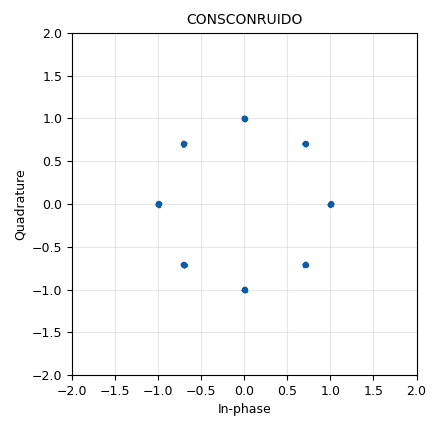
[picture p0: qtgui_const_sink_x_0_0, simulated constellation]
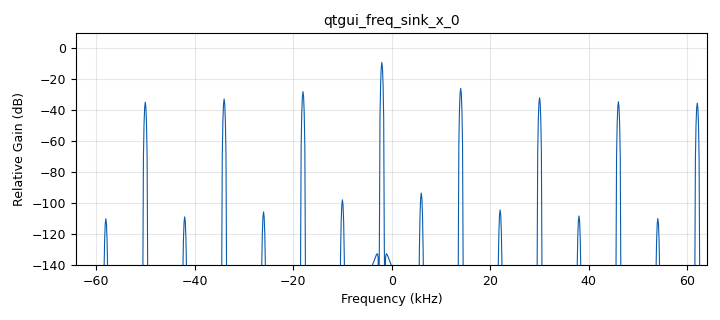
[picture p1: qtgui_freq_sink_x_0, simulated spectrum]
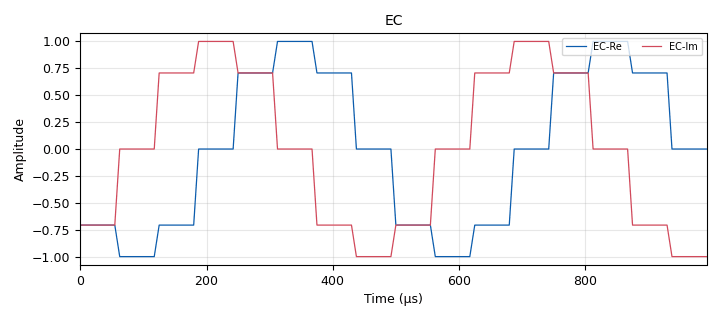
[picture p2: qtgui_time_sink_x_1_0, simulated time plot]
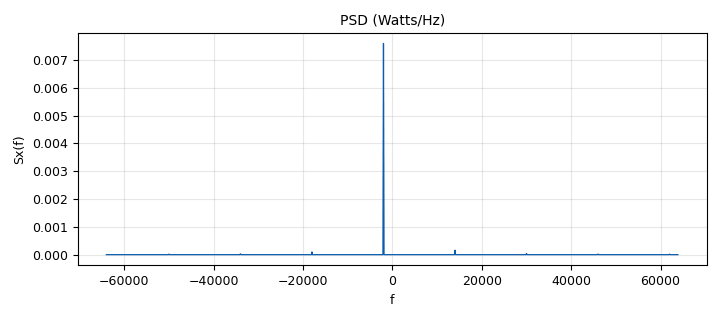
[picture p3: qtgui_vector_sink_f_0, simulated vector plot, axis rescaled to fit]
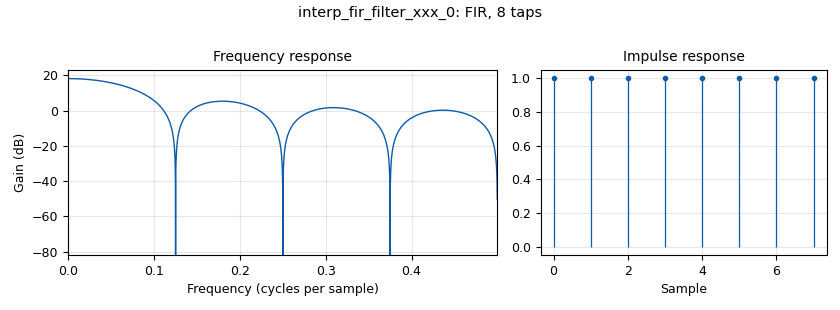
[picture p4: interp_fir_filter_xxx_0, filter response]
options:
  parameters:
    generate_options: qt_gui
    id: Practica4MPSK
    output_language: python
    title: Not titled yet
  states: {}

blocks:
- name: CONSTELACION
  id: variable
  parameters:
    value: (1+0j, 0 + 1j, -1+0j, 0 - 1j)
  states: {}
- name: CONSTELACION2
  id: variable
  parameters:
    value: ( -0.707-0.707j, -1+0j, -0.707+0.707j, 0+1j, 0.707+0.707j, 1+0j, 0.707-0.707j, 0-1j )
  states: {}
- name: M
  id: variable
  parameters:
    value: '4'
  states: {}
- name: M_ANTES
  id: variable
  parameters:
    value: '8'
  states: {}
- name: N
  id: variable
  parameters:
    value: '1024'
  states: {}
- name: Nbps
  id: variable
  parameters:
    value: int(math.log(M,2))
  states: {}
- name: Rb
  id: variable
  parameters:
    value: '32000'
  states: {}
- name: Rs
  id: variable
  parameters:
    value: Rb/Nbps
  states: {}
- name: Sps
  id: variable
  parameters:
    value: len(h)
  states: {}
- name: h
  id: variable
  parameters:
    value: (1.,1.,1.,1.,1.,1.,1.,1.)
  states: {}
- name: samp_rate
  id: variable
  parameters:
    value: Rs*Sps
  states: {}
- name: analog_const_source_x_0
  id: analog_const_source_x
  parameters:
    const: '1.'
    type: float
  states: {state: disabled}
- name: analog_noise_source_x_0
  id: analog_noise_source_x
  parameters:
    amp: '0.01'
    noise_type: analog.GR_GAUSSIAN
    seed: '0'
    type: complex
  states: {}
- name: analog_random_source_x_0
  id: analog_random_source_x
  parameters:
    max: '2'
    min: '0'
    num_samps: '1000'
    repeat: 'True'
    type: byte
  states: {state: disabled}
- name: blocks_add_xx_0
  id: blocks_add_xx
  parameters:
    type: complex
  states: {}
- name: blocks_char_to_float_0
  id: blocks_char_to_float
  parameters:
    scale: '1'
  states: {state: disabled}
- name: blocks_char_to_float_0_0
  id: blocks_char_to_float
  parameters:
    scale: '1'
  states: {state: disabled}
- name: blocks_char_to_float_0_0_0
  id: blocks_char_to_float
  parameters:
    scale: '1'
  states: {state: disabled}
- name: blocks_complex_to_mag_squared_0
  id: blocks_complex_to_mag_squared
  parameters:
    vlen: N
  states: {}
- name: blocks_multiply_const_vxx_0
  id: blocks_multiply_const_vxx
  parameters:
    const: 2*math.pi/M
    type: float
  states: {state: disabled}
- name: blocks_multiply_const_vxx_1
  id: blocks_multiply_const_vxx
  parameters:
    const: '[1/(N*samp_rate)]*N'
    type: float
    vlen: N
  states: {}
- name: blocks_null_sink_0
  id: blocks_null_sink
  parameters:
    type: complex
  states: {}
- name: blocks_repack_bits_bb_0
  id: blocks_repack_bits_bb
  parameters:
    endianness: gr.GR_LSB_FIRST
    k: '1'
    l: Nbps
  states: {state: disabled}
- name: blocks_stream_to_vector_0
  id: blocks_stream_to_vector
  parameters:
    num_items: N
    type: complex
  states: {}
- name: blocks_vector_source_x_0
  id: blocks_vector_source_x
  parameters:
    repeat: 'True'
    type: int
    vector: (0, 1, 2, 3)
  states: {state: disabled}
- name: blocks_vector_source_x_0_0
  id: blocks_vector_source_x
  parameters:
    repeat: 'True'
    type: int
    vector: (0, 1, 2, 3,4,5,6,7)
  states: {}
- name: digital_chunks_to_symbols_xx_0
  id: digital_chunks_to_symbols_xx
  parameters:
    dimension: '1'
    in_type: int
    out_type: complex
    symbol_table: CONSTELACION2
  states: {}
- name: epy_block_0
  id: epy_block
  parameters:
    _source_code: |
      """
      Embedded Python Blocks:

      Each time this file is saved, GRC will instantiate the first class it finds
      to get ports and parameters of your block. The arguments to __init__  will
      be the parameters. All of them are required to have default values!
      """

      import numpy as np
      from gnuradio import gr


      class blk(gr.sync_block):  # other base classes are basic_block, decim_block, interp_block
          """Embedded Python Block example - a simple multiply const"""

          def __init__(self, example_param=1.0):  # only default arguments here
              """arguments to this function show up as parameters in GRC"""
              gr.sync_block.__init__(
                  self,
                  name='VCO Complex',   # will show up in GRC
                  in_sig=[np.float32, np.float32],
                  out_sig=[np.complex64]
              )
              # if an attribute with the same name as a parameter is found,
              # a callback is registered (properties work, too).
              self.example_param = example_param

          def work(self, input_items, output_items):
              Q=input_items[0]
              A=input_items[1]
              Sec=output_items[0] #Envolvente Compleja
              Sec[:]=A*np.exp(1.j*Q)
              return len(Sec)
    example_param: '1.0'
  states: {state: disabled}
- name: epy_block_0_0
  id: epy_block
  parameters:
    N: N
    _source_code: |
      import numpy as np
      from gnuradio import gr


      class blk(gr.sync_block):  
          """vector averager. N is the lengh of the vector"""

          def __init__(self, N=1024):
              gr.sync_block.__init__(
                  self,
                  name='e_vec_averager_ff',   
                  in_sig=[(np.float32,N)],
                  out_sig=[(np.float32,N)]
              )
              self.N = N
              self.rows_counter=0
              self.sum=0

          def work(self, input_items, output_items):
              x=input_items[0]
              y=output_items[0]
              self.sum += np.sum(x, axis=0)
              self.rows_counter += len(x)
              y[:]=self.sum/self.rows_counter
              return len(output_items[0])
  states: {}
- name: fft_vxx_0
  id: fft_vxx
  parameters:
    fft_size: N
    forward: 'True'
    shift: 'True'
    type: complex
    window: '[1]*N'
  states: {}
- name: import_0
  id: import
  parameters:
    imports: import math
  states: {}
- name: interp_fir_filter_xxx_0
  id: interp_fir_filter_xxx
  parameters:
    interp: '8'
    taps: h
    type: ccc
  states: {}
- name: interp_fir_filter_xxx_0_0
  id: interp_fir_filter_xxx
  parameters:
    interp: '8'
    taps: h
    type: ccc
  states: {}
- name: note_0
  id: note
  parameters:
    note: Numero de bits por simbolo
  states: {}
- name: note_0_0
  id: note
  parameters:
    note: Rata de simbolo
  states: {}
- name: note_0_0_0
  id: note
  parameters:
    note: M-aria
  states: {}
- name: note_0_0_0_0
  id: note
  parameters:
    note: Rata de bits
  states: {}
- name: note_0_0_0_1
  id: note
  parameters:
    note: Normalización
  states: {}
- name: note_0_1
  id: note
  parameters:
    note: Q
  states: {}
- name: note_0_1_0
  id: note
  parameters:
    note: A
  states: {}
- name: qtgui_const_sink_x_0
  id: qtgui_const_sink_x
  parameters:
    size: '1024'
    type: complex
  states: {state: disabled}
- name: qtgui_const_sink_x_0_0
  id: qtgui_const_sink_x
  parameters:
    name: '"CONSCONRUIDO"'
    size: '1024'
    type: complex
  states: {}
- name: qtgui_freq_sink_x_0
  id: qtgui_freq_sink_x
  parameters:
    average: '0.05'
    bw: samp_rate
    fc: '0'
    fftsize: '1024'
    type: complex
  states: {}
- name: qtgui_time_sink_x_0
  id: qtgui_time_sink_x
  parameters:
    marker1: '0'
    name: '"binary"'
    size: '1024'
    srate: Nbps
    stemplot: 'True'
    type: float
    width1: '3'
  states: {state: disabled}
- name: qtgui_time_sink_x_0_0
  id: qtgui_time_sink_x
  parameters:
    marker1: '0'
    name: '"M-PAM"'
    size: int(32/Nbps)
    srate: Rs
    stemplot: 'True'
    type: float
    width1: '3'
  states: {state: disabled}
- name: qtgui_time_sink_x_0_0_0
  id: qtgui_time_sink_x
  parameters:
    marker1: '0'
    name: '"M-PAM MOD"'
    size: int(32/Nbps)
    srate: Rs
    stemplot: 'True'
    type: float
    width1: '3'
  states: {state: disabled}
- name: qtgui_time_sink_x_1
  id: qtgui_time_sink_x
  parameters:
    color1: magenta
    label1: EC-Re
    label2: EC-Im
    marker1: '0'
    name: '"EC"'
    size: int(32/Nbps)
    srate: Rs
    stemplot: 'True'
    type: complex
    width1: '3'
    width2: '3'
  states: {state: disabled}
- name: qtgui_time_sink_x_1_0
  id: qtgui_time_sink_x
  parameters:
    color1: magenta
    label1: EC-Re
    label2: EC-Im
    name: '"EC"'
    size: int(32*Sps/Nbps)
    srate: samp_rate
    type: complex
    width1: '3'
    width2: '3'
  states: {}
- name: qtgui_time_sink_x_1_1
  id: qtgui_time_sink_x
  parameters:
    color1: magenta
    label1: EC-Re
    label2: EC-Im
    marker1: '0'
    name: '"RUIDO"'
    size: int(32/Nbps)
    srate: Rs
    stemplot: 'True'
    type: complex
    width1: '3'
    width2: '3'
  states: {state: disabled}
- name: qtgui_vector_sink_f_0
  id: qtgui_vector_sink_f
  parameters:
    name: '"PSD (Watts/Hz)"'
    vlen: N
    x_axis_label: '"f"'
    x_start: '-samp_rate/2'
    x_step: samp_rate/ N
    x_units: '"Hz"'
    y_axis_label: '"Sx(f)"'
    y_units: '"Watss/Hz"'
    ymax: 1/Rb
    ymin: '0'
  states: {}

connections:
- [analog_const_source_x_0, '0', epy_block_0, '1']
- [analog_noise_source_x_0, '0', blocks_add_xx_0, '1']
- [analog_noise_source_x_0, '0', qtgui_time_sink_x_1_1, '0']
- [analog_random_source_x_0, '0', blocks_char_to_float_0, '0']
- [analog_random_source_x_0, '0', blocks_repack_bits_bb_0, '0']
- [blocks_add_xx_0, '0', blocks_null_sink_0, '0']
- [blocks_add_xx_0, '0', qtgui_const_sink_x_0_0, '0']
- [blocks_char_to_float_0, '0', qtgui_time_sink_x_0, '0']
- [blocks_char_to_float_0_0, '0', qtgui_time_sink_x_0_0, '0']
- [blocks_char_to_float_0_0_0, '0', blocks_multiply_const_vxx_0, '0']
- [blocks_complex_to_mag_squared_0, '0', epy_block_0_0, '0']
- [blocks_multiply_const_vxx_0, '0', epy_block_0, '0']
- [blocks_multiply_const_vxx_0, '0', qtgui_time_sink_x_0_0_0, '0']
- [blocks_multiply_const_vxx_1, '0', qtgui_vector_sink_f_0, '0']
- [blocks_repack_bits_bb_0, '0', blocks_char_to_float_0_0, '0']
- [blocks_repack_bits_bb_0, '0', blocks_char_to_float_0_0_0, '0']
- [blocks_repack_bits_bb_0, '0', digital_chunks_to_symbols_xx_0, '0']
- [blocks_stream_to_vector_0, '0', fft_vxx_0, '0']
- [blocks_vector_source_x_0, '0', digital_chunks_to_symbols_xx_0, '0']
- [blocks_vector_source_x_0_0, '0', digital_chunks_to_symbols_xx_0, '0']
- [digital_chunks_to_symbols_xx_0, '0', interp_fir_filter_xxx_0, '0']
- [digital_chunks_to_symbols_xx_0, '0', interp_fir_filter_xxx_0_0, '0']
- [epy_block_0, '0', interp_fir_filter_xxx_0, '0']
- [epy_block_0, '0', qtgui_const_sink_x_0, '0']
- [epy_block_0, '0', qtgui_time_sink_x_1, '0']
- [epy_block_0_0, '0', blocks_multiply_const_vxx_1, '0']
- [fft_vxx_0, '0', blocks_complex_to_mag_squared_0, '0']
- [interp_fir_filter_xxx_0, '0', blocks_add_xx_0, '0']
- [interp_fir_filter_xxx_0, '0', qtgui_freq_sink_x_0, '0']
- [interp_fir_filter_xxx_0, '0', qtgui_time_sink_x_1_0, '0']
- [interp_fir_filter_xxx_0_0, '0', blocks_stream_to_vector_0, '0']

metadata:
  file_format: 1
  grc_version: v3.10.11.0-89-ga17f69e7
